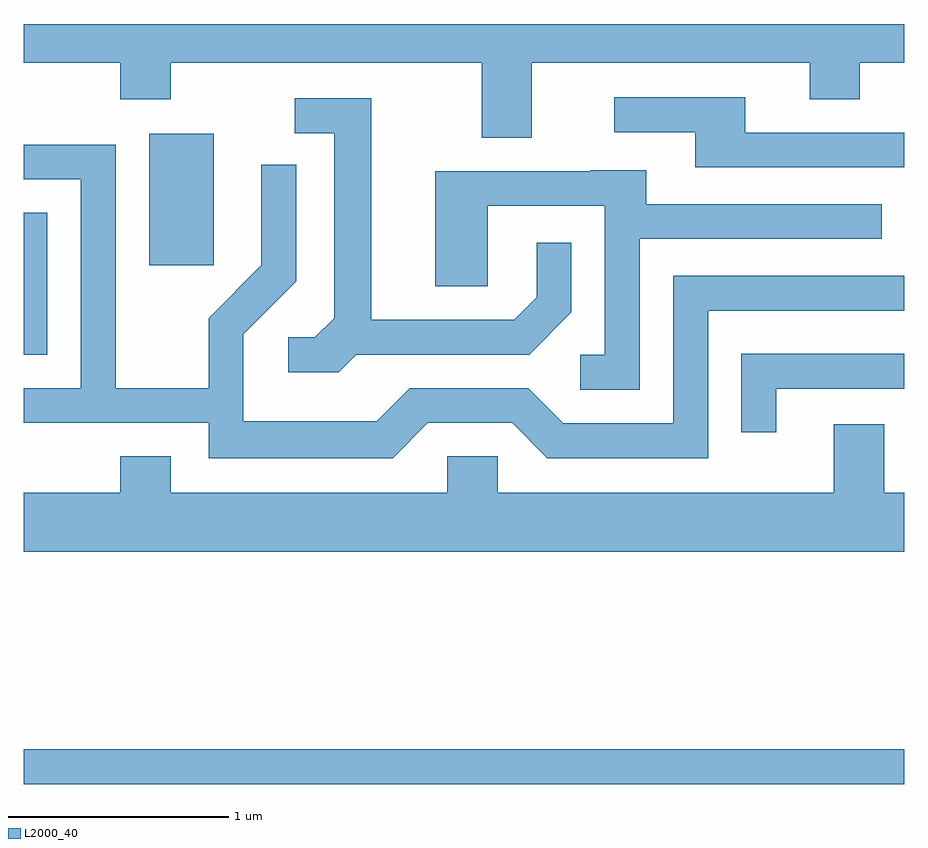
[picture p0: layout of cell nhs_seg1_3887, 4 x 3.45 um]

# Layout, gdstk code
import gdstk
lib = gdstk.Library(unit=1e-6, precision=1e-09)
def R(c, l, rs):  # rectangles x0, y0, x1, y1
    for r in rs: c.add(gdstk.rectangle(r[:2], r[2:], *l))
def P(c, l, *ps):  # polygons
    for p in ps: c.add(gdstk.Polygon(p, *l))
L2000_40 = (2000, 40)

nhs_seg1_3887 = lib.new_cell('nhs_seg1_3887')
R(nhs_seg1_3887, L2000_40, [(301.611,936.261,305.611,936.419), (301.611,938.211,301.719,938.854), (302.181,938.616,302.474,939.214)])
P(nhs_seg1_3887, L2000_40, [(303.919,939.536),(305.181,939.536),(305.181,939.371),(305.409,939.371),(305.409,939.536),(305.611,939.536),(305.611,939.712),(301.611,939.712),(301.611,939.536),(302.051,939.536),(302.051,939.371),(302.279,939.371),(302.279,939.536),(303.691,939.536),(303.691,939.196),(303.919,939.196)],
  [(305.611,939.219),(304.889,939.219),(304.889,939.379),(304.293,939.379),(304.293,939.221),(304.661,939.221),(304.661,939.061),(305.611,939.061)],
  [(303.122,938.211),(303.907,938.211),(304.099,938.404),(304.099,938.718),(303.941,938.718),(303.941,938.472),(303.839,938.369),(303.189,938.369),(303.189,939.374),(302.843,939.374),(302.843,939.216),(303.021,939.216),(303.021,938.377),(302.934,938.289),(302.813,938.289),(302.813,938.131),(303.042,938.131)],
  [(303.447,937.901),(303.829,937.901),(303.989,937.741),(304.719,937.741),(304.719,938.411),(305.611,938.411),(305.611,938.569),(304.561,938.569),(304.561,937.899),(304.062,937.899),(303.902,938.059),(303.364,938.059),(303.214,937.909),(302.609,937.909),(302.609,938.304),(302.849,938.544),(302.849,939.073),(302.691,939.073),(302.691,938.617),(302.451,938.377),(302.451,938.059),(302.029,938.059),(302.029,939.164),(301.611,939.164),(301.611,939.006),(301.871,939.006),(301.871,938.059),(301.611,938.059),(301.611,937.901),(302.451,937.901),(302.451,937.741),(303.287,937.741)],
  [(304.409,938.736),(305.508,938.736),(305.508,938.894),(304.439,938.894),(304.439,939.049),(304.185,939.049),(304.185,939.044),(303.481,939.044),(303.481,938.521),(303.719,938.521),(303.719,938.886),(304.251,938.886),(304.251,938.209),(304.138,938.209),(304.138,938.051),(304.409,938.051)],
  [(305.029,938.056),(305.611,938.056),(305.611,938.214),(304.871,938.214),(304.871,937.858),(305.029,937.858)],
  [(305.611,937.584),(305.519,937.584),(305.519,937.894),(305.291,937.894),(305.291,937.584),(303.764,937.584),(303.764,937.749),(303.536,937.749),(303.536,937.584),(302.279,937.584),(302.279,937.749),(302.051,937.749),(302.051,937.584),(301.611,937.584),(301.611,937.316),(305.611,937.316)])

lib.write_gds('nhs_seg1_3887.gds')
